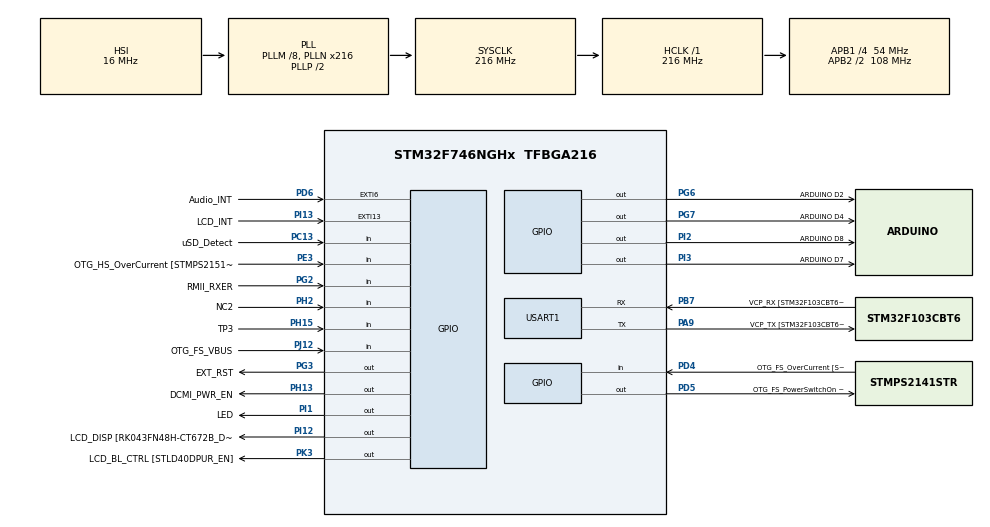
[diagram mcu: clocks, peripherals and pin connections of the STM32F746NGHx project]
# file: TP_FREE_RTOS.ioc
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FREERTOS.Tasks01=defaultTask,0,128,StartDefaultTask,Default,NULL,Dynamic,NULL,NULL
Mcu.Family=STM32F7
Mcu.Name=STM32F746NGHx
Mcu.Package=TFBGA216
NVIC.PriorityGroup=NVIC_PRIORITYGROUP_4
NVIC.TIM2_IRQn=true\:5\:0\:false\:false\:true\:true\:true\:true\:true
PA0/WKUP.GPIO_Label=ARDUINO A0
PA0/WKUP.GPIO_Mode=GPIO_MODE_ANALOG
PA0/WKUP.GPIO_PuPd=GPIO_NOPULL
PA0/WKUP.Signal=ADCx_IN0
PA1.GPIO_Label=RMII_REF_CLK [LAN8742A-CZ-TR_REFCLK0]
PA1.Signal=ETH_REF_CLK
PA10.GPIO_Label=OTG_FS_ID
PA10.Signal=USB_OTG_FS_ID
PA11.GPIO_Label=OTG_FS_N
PA11.Signal=USB_OTG_FS_DM
PA12.GPIO_Label=OTG_FS_P
PA12.Signal=USB_OTG_FS_DP
PA13.GPIO_Label=SWDIO
PA13.Mode=Serial_Wire
PA13.Signal=SYS_JTMS-SWDIO
PA14.GPIO_Label=SWCLK
PA14.Mode=Serial_Wire
PA14.Signal=SYS_JTCK-SWCLK
PA15.GPIO_Label=ARDUINO PWM/D9
PA15.GPIO_ModeDefaultPP=GPIO_MODE_AF_PP
PA15.GPIO_PuPd=GPIO_NOPULL
PA15.GPIO_Speed=GPIO_SPEED_FREQ_LOW
PA15.Signal=S_TIM2_CH1_ETR
PA2.GPIO_Label=RMII_MDIO [LAN8742A-CZ-TR_MDIO]
PA2.Signal=ETH_MDIO
PA3.GPIO_Label=ULPI_D0 [USB3320C-EZK_D0]
PA3.Signal=USB_OTG_HS_ULPI_D0
PA4.GPIO_Label=DCMI_HSYNC
PA4.Signal=DCMI_HSYNC
PA5.GPIO_Label=ULPI_CLK [USB3320C-EZK_CLKOUT]
PA5.Signal=USB_OTG_HS_ULPI_CK
PA6.Signal=DCMI_PIXCLK
PA7.GPIO_Label=RMII_CRS_DV [LAN8742A-CZ-TR_CRS_DV]
PA7.Signal=ETH_CRS_DV
PA8.GPIO_Label=ARDUINO PWM/D10
PA8.GPIO_ModeDefaultPP=GPIO_MODE_AF_PP
PA8.GPIO_PuPd=GPIO_NOPULL
PA8.GPIO_Speed=GPIO_SPEED_FREQ_LOW
PA8.Signal=S_TIM1_CH1
PA9.GPIO_Label=VCP_TX [STM32F103CBT6_PA3]
PA9.GPIO_Mode=GPIO_MODE_AF_PP
PA9.GPIO_PuPd=GPIO_NOPULL
PA9.GPIO_Speed=GPIO_SPEED_FREQ_LOW
PA9.Mode=Asynchronous
PA9.Signal=USART1_TX
PB0.GPIO_Label=ULPI_D1 [USB3320C-EZK_D1]
PB0.Signal=USB_OTG_HS_ULPI_D1
PB1.GPIO_Label=ULPI_D2 [USB3320C-EZK_D2]
PB1.Signal=USB_OTG_HS_ULPI_D2
PB10.GPIO_Label=ULPI_D3 [USB3320C-EZK_D3]
PB10.Signal=USB_OTG_HS_ULPI_D3
PB11.GPIO_Label=ULPI_D4 [USB3320C-EZK_D4]
PB11.Signal=USB_OTG_HS_ULPI_D4
PB12.GPIO_Label=ULPI_D5 [USB3320C-EZK_D5]
PB12.Signal=USB_OTG_HS_ULPI_D5
PB13.GPIO_Label=ULPI_D6 [USB3320C-EZK_D6]
PB13.Signal=USB_OTG_HS_ULPI_D6
PB14.GPIO_Label=ARDUINO MISO/D12
PB14.GPIO_Mode=GPIO_MODE_AF_PP
PB14.GPIO_PuPd=GPIO_NOPULL
PB14.GPIO_Speed=GPIO_SPEED_FREQ_LOW
PB14.Signal=SPI2_MISO
PB15.GPIO_Label=ARDUINO MOSI/PWM/D11
PB15.GPIO_Mode=GPIO_MODE_AF_PP
PB15.GPIO_PuPd=GPIO_NOPULL
PB15.GPIO_Speed=GPIO_SPEED_FREQ_LOW
PB15.Signal=SPI2_MOSI
PB2.Signal=QUADSPI_CLK
PB3.GPIO_Label=SWO
PB3.Signal=SYS_JTDO-SWO
PB4.GPIO_Label=ARDUINO PWM/D3
PB4.GPIO_ModeDefaultPP=GPIO_MODE_AF_PP
PB4.GPIO_PuPd=GPIO_NOPULL
PB4.GPIO_Speed=GPIO_SPEED_FREQ_LOW
PB4.Signal=S_TIM3_CH1
PB5.GPIO_Label=ULPI_D7 [USB3320C-EZK_D7]
PB5.Signal=USB_OTG_HS_ULPI_D7
PB6.GPIO_Label=QSPI_NCS [N25Q128A13EF840E_S]
PB6.Signal=QUADSPI_BK1_NCS
PB7.GPIO_Label=VCP_RX [STM32F103CBT6_PA2]
PB7.GPIO_Mode=GPIO_MODE_AF_PP
PB7.GPIO_PuPd=GPIO_NOPULL
PB7.GPIO_Speed=GPIO_SPEED_FREQ_LOW
PB7.Mode=Asynchronous
PB7.Signal=USART1_RX
PB8.GPIO_Label=ARDUINO SCL/D15
PB8.GPIO_Mode=GPIO_MODE_AF_OD
PB8.GPIO_PuPd=GPIO_NOPULL
PB8.GPIO_Speed=GPIO_SPEED_FREQ_LOW
PB8.Signal=I2C1_SCL
PB9.GPIO_Label=ARDUINO SDA/D14
PB9.GPIO_Mode=GPIO_MODE_AF_OD
PB9.GPIO_PuPd=GPIO_NOPULL
PB9.GPIO_Speed=GPIO_SPEED_FREQ_LOW
PB9.Signal=I2C1_SDA
PC0.GPIO_Label=ULPI_STP [USB3320C-EZK_STP]
PC0.Signal=USB_OTG_HS_ULPI_STP
PC1.GPIO_Label=RMII_MDC [LAN8742A-CZ-TR_MDC]
PC1.Signal=ETH_MDC
PC10.GPIO_Label=SDMMC_D2
PC10.Signal=SDMMC1_D2
PC11.GPIO_Label=SDMMC_D3
PC11.Signal=SDMMC1_D3
PC12.GPIO_Label=SDMMC_CK
PC12.Signal=SDMMC1_CK
PC13.GPIO_Label=uSD_Detect
PC13.Signal=GPIO_Input
PC14/OSC32_IN.GPIO_Label=RCC_OSC32_IN
PC14/OSC32_IN.Signal=RCC_OSC32_IN
PC15/OSC32_OUT.GPIO_Label=RCC_OSC32_OUT
PC15/OSC32_OUT.Signal=RCC_OSC32_OUT
PC2.GPIO_Label=ULPI_DIR [USB3320C-EZK_DIR]
PC2.Signal=USB_OTG_HS_ULPI_DIR
PC3.GPIO_Label=FMC_SDCKE0 [MT48LC4M32B2B5-6A_CKE]
PC3.Signal=FMC_SDCKE0
PC4.GPIO_Label=RMII_RXD0 [LAN8742A-CZ-TR_RXD0]
PC4.Signal=ETH_RXD0
PC5.GPIO_Label=RMII_RXD1 [LAN8742A-CZ-TR_RXD1]
PC5.Signal=ETH_RXD1
PC6.GPIO_Label=ARDUINO TX/D1
PC6.Signal=USART6_TX
PC7.GPIO_Label=ARDUINO RX/D0
PC7.Signal=USART6_RX
PC8.Signal=SDMMC1_D0
PC9.Signal=SDMMC1_D1
PD0.GPIO_Label=FMC_D2 [MT48LC4M32B2B5-6A_DQ2]
PD0.Signal=FMC_D2_DA2
PD1.GPIO_Label=FMC_D3 [MT48LC4M32B2B5-6A_DQ3]
PD1.Signal=FMC_D3_DA3
PD10.GPIO_Label=FMC_D15 [MT48LC4M32B2B5-6A_DQ15]
PD10.Signal=FMC_D15_DA15
PD11.GPIO_Label=QSPI_D0 [N25Q128A13EF840E_DQ0]
PD11.Signal=QUADSPI_BK1_IO0
PD12.GPIO_Label=QSPI_D1 [N25Q128A13EF840E_DQ1]
PD12.Signal=QUADSPI_BK1_IO1
PD13.GPIO_Label=QSPI_D3 [N25Q128A13EF840E_DQ3]
PD13.Signal=QUADSPI_BK1_IO3
PD14.GPIO_Label=FMC_D0 [MT48LC4M32B2B5-6A_DQ0]
PD14.Signal=FMC_D0_DA0
PD15.GPIO_Label=FMC_D1 [MT48LC4M32B2B5-6A_DQ1]
PD15.Signal=FMC_D1_DA1
PD2.GPIO_Label=SDMMC_D0
PD2.Signal=SDMMC1_CMD
PD3.GPIO_Label=DCMI_D5
PD3.Signal=DCMI_D5
PD4.GPIO_Label=OTG_FS_OverCurrent [STMPS2141STR_Fault]
PD4.Signal=GPIO_Input
PD5.GPIO_Label=OTG_FS_PowerSwitchOn [STMPS2141STR_EN]
PD5.PinState=GPIO_PIN_SET
PD5.Signal=GPIO_Output
PD6.GPIO_Label=Audio_INT
PD6.GPIO_ModeDefaultEXTI=GPIO_MODE_EVT_RISING
PD6.Signal=GPXTI6
PD7.GPIO_Label=SPDIF_RX0 [74LVC1G04SE_4]
PD7.Signal=SPDIFRX_IN0
PD8.GPIO_Label=FMC_D13 [MT48LC4M32B2B5-6A_DQ13]
PD8.Signal=FMC_D13_DA13
PD9.GPIO_Label=FMC_D14 [MT48LC4M32B2B5-6A_DQ14]
PD9.Signal=FMC_D14_DA14
PE0.GPIO_Label=FMC_NBL0 [MT48LC4M32B2B5-6A_DQM0]
PE0.Signal=FMC_NBL0
PE1.GPIO_Label=FMC_NBL1 [MT48LC4M32B2B5-6A_DQM1]
PE1.Signal=FMC_NBL1
PE10.GPIO_Label=FMC_D7 [MT48LC4M32B2B5-6A_DQ7]
PE10.Signal=FMC_D7_DA7
PE11.GPIO_Label=FMC_D8 [MT48LC4M32B2B5-6A_DQ8]
PE11.Signal=FMC_D8_DA8
PE12.GPIO_Label=FMC_D9 [MT48LC4M32B2B5-6A_DQ9]
PE12.Signal=FMC_D9_DA9
PE13.GPIO_Label=FMC_D10 [MT48LC4M32B2B5-6A_DQ10]
PE13.Signal=FMC_D10_DA10
PE14.GPIO_Label=FMC_D11 [MT48LC4M32B2B5-6A_DQ11]
PE14.Signal=FMC_D11_DA11
PE15.GPIO_Label=FMC_D12 [MT48LC4M32B2B5-6A_DQ12]
PE15.Signal=FMC_D12_DA12
PE2.GPIO_Label=QSPI_D2 [N25Q128A13EF840E_DQ2]
PE2.Signal=QUADSPI_BK1_IO2
PE3.GPIO_Label=OTG_HS_OverCurrent [STMPS2151STR_FAULT]
PE3.Signal=GPIO_Input
PE4.GPIO_Label=LCD_B0 [RK043FN48H-CT672B_B0]
PE4.Signal=LTDC_B0
PE5.GPIO_Label=DCMI_D6
PE5.Signal=DCMI_D6
PE6.GPIO_Label=DCMI_D7
PE6.Signal=DCMI_D7
PE7.GPIO_Label=FMC_D4 [MT48LC4M32B2B5-6A_DQ4]
PE7.Signal=FMC_D4_DA4
PE8.GPIO_Label=FMC_D5 [MT48LC4M32B2B5-6A_DQ5]
PE8.Signal=FMC_D5_DA5
PE9.GPIO_Label=FMC_D6 [MT48LC4M32B2B5-6A_DQ6]
PE9.Signal=FMC_D6_DA6
PF0.GPIO_Label=FMC_A0 [MT48LC4M32B2B5-6A_A0]
PF0.Signal=FMC_A0
PF1.GPIO_Label=FMC_A1 [MT48LC4M32B2B5-6A_A1]
PF1.Signal=FMC_A1
PF10.GPIO_Label=ARDUINO A1
PF10.GPIO_Mode=GPIO_MODE_ANALOG
PF10.GPIO_PuPd=GPIO_NOPULL
PF10.Signal=ADC3_IN8
PF11.GPIO_Label=FMC_SDNRAS [MT48LC4M32B2B5-6A_RAS]
PF11.Signal=FMC_SDNRAS
PF12.GPIO_Label=FMC_A6 [MT48LC4M32B2B5-6A_A6]
PF12.Signal=FMC_A6
PF13.GPIO_Label=FMC_A7 [MT48LC4M32B2B5-6A_A7]
PF13.Signal=FMC_A7
PF14.GPIO_Label=FMC_A8 [MT48LC4M32B2B5-6A_A8]
PF14.Signal=FMC_A8
PF15.GPIO_Label=FMC_A9 [MT48LC4M32B2B5-6A_A9]
PF15.Signal=FMC_A9
PF2.GPIO_Label=FMC_A2 [MT48LC4M32B2B5-6A_A2]
PF2.Signal=FMC_A2
PF3.GPIO_Label=FMC_A3 [MT48LC4M32B2B5-6A_A3]
PF3.Signal=FMC_A3
PF4.GPIO_Label=FMC_A4 [MT48LC4M32B2B5-6A_A4]
PF4.Signal=FMC_A4
PF5.GPIO_Label=FMC_A5 [MT48LC4M32B2B5-6A_A5]
PF5.Signal=FMC_A5
PF6.GPIO_Label=ARDUINO A5
PF6.GPIO_Mode=GPIO_MODE_ANALOG
PF6.GPIO_PuPd=GPIO_NOPULL
PF6.Signal=ADC3_IN4
PF7.GPIO_Label=ARDUINO A4
PF7.GPIO_Mode=GPIO_MODE_ANALOG
PF7.GPIO_PuPd=GPIO_NOPULL
PF7.Signal=ADC3_IN5
PF8.GPIO_Label=ARDUINO A3
PF8.GPIO_Mode=GPIO_MODE_ANALOG
PF8.GPIO_PuPd=GPIO_NOPULL
PF8.Signal=ADC3_IN6
PF9.GPIO_Label=ARDUINO A2
PF9.GPIO_Mode=GPIO_MODE_ANALOG
PF9.GPIO_PuPd=GPIO_NOPULL
PF9.Signal=ADC3_IN7
PG0.GPIO_Label=FMC_A10 [MT48LC4M32B2B5-6A_A10]
PG0.Signal=FMC_A10
PG1.GPIO_Label=FMC_A11 [MT48LC4M32B2B5-6A_A11]
PG1.Signal=FMC_A11
PG10.GPIO_Label=SAI2_SDB [WM8994ECS/R_ADCDAT1]
PG10.Signal=SAI2_SD_B
PG11.GPIO_Label=RMII_TX_EN [LAN8742A-CZ-TR_TXEN]
PG11.Signal=ETH_TX_EN
PG12.GPIO_Label=LCD_B4 [RK043FN48H-CT672B_B4]
PG12.Signal=LTDC_B4
PG13.GPIO_Label=RMII_TXD0 [LAN8742A-CZ-TR_TXD0]
PG13.Signal=ETH_TXD0
PG14.GPIO_Label=RMII_TXD1 [LAN8742A-CZ-TR_TXD1]
PG14.Signal=ETH_TXD1
PG15.GPIO_Label=FMC_SDNCAS [MT48LC4M32B2B5-6A_CAS]
PG15.Signal=FMC_SDNCAS
PG2.GPIO_Label=RMII_RXER
PG2.Signal=GPIO_Input
PG3.GPIO_Label=EXT_RST
PG3.Signal=GPIO_Output
PG4.GPIO_Label=FMC_BA0 [MT48LC4M32B2B5-6A_BA0]
PG4.Signal=FMC_A14_BA0
PG5.GPIO_Label=FMC_BA1 [MT48LC4M32B2B5-6A_BA1]
PG5.Signal=FMC_A15_BA1
PG6.GPIO_Label=ARDUINO D2
PG6.Signal=GPIO_Output
PG7.GPIO_Label=ARDUINO D4
PG7.Signal=GPIO_Output
PG8.GPIO_Label=FMC_SDCLK [MT48LC4M32B2B5-6A_CLK]
PG8.Signal=FMC_SDCLK
PG9.GPIO_Label=DCMI_VSYNC
PG9.Signal=DCMI_VSYNC
PH0/OSC_IN.GPIO_Label=OSC_25M [NZ2520SB-25.00M_OUT]
PH0/OSC_IN.Mode=HSE-External-Oscillator
PH0/OSC_IN.Signal=RCC_OSC_IN
PH1/OSC_OUT.Mode=HSE-External-Oscillator
PH1/OSC_OUT.Signal=RCC_OSC_OUT
PH10.GPIO_Label=DCMI_D1
PH10.Signal=DCMI_D1
PH11.GPIO_Label=DCMI_D2
PH11.Signal=DCMI_D2
PH12.GPIO_Label=DCMI_D3
PH12.Signal=DCMI_D3
PH13.GPIO_Label=DCMI_PWR_EN
PH13.Signal=GPIO_Output
PH14.GPIO_Label=DCMI_D4
PH14.Signal=DCMI_D4
PH15.GPIO_Label=TP3
PH15.Signal=GPIO_Input
PH2.GPIO_Label=NC2
PH2.Signal=GPIO_Input
PH3.GPIO_Label=FMC_SDNE0 [MT48LC4M32B2B5-6A_CS]
PH3.Signal=FMC_SDNE0
PH4.GPIO_Label=ULPI_NXT [USB3320C-EZK_NXT]
PH4.Signal=USB_OTG_HS_ULPI_NXT
PH5.GPIO_Label=FMC_SDNME [MT48LC4M32B2B5-6A_WE]
PH5.Signal=FMC_SDNWE
PH6.GPIO_Label=ARDUINO PWM/D6
PH6.Signal=S_TIM12_CH1
PH7.GPIO_Label=LCD_SCL [RK043FN48H-CT672B_SCL]
PH7.Signal=I2C3_SCL
PH8.GPIO_Label=LCD_SDA [RK043FN48H-CT672B_SDA]
PH8.Signal=I2C3_SDA
PH9.GPIO_Label=DCMI_D0
PH9.Signal=DCMI_D0
PI0.GPIO_Label=ARDUINO PWM/CS/D5
PI0.GPIO_ModeDefaultPP=GPIO_MODE_AF_PP
PI0.GPIO_PuPd=GPIO_NOPULL
PI0.GPIO_Speed=GPIO_SPEED_FREQ_LOW
PI0.Signal=S_TIM5_CH4
PI1.GPIO_Label=LED
PI1.Signal=GPIO_Output
PI10.GPIO_Label=LCD_HSYNC [RK043FN48H-CT672B_HSYNC]
PI10.Signal=LTDC_HSYNC
PI12.GPIO_Label=LCD_DISP [RK043FN48H-CT672B_DISP] 
PI12.Signal=GPIO_Output
PI13.GPIO_Label=LCD_INT
PI13.GPIO_ModeDefaultEXTI=GPIO_MODE_EVT_RISING
PI13.Signal=GPXTI13
PI14.GPIO_Label=LCD_CLK [RK043FN48H-CT672B_CLK]
PI14.Signal=LTDC_CLK
PI15.GPIO_Label=LCD_R0 [RK043FN48H-CT672B_R0]
PI15.Signal=LTDC_R0
PI2.GPIO_Label=ARDUINO D8
PI2.Signal=GPIO_Output
PI3.GPIO_Label=ARDUINO D7
PI3.Signal=GPIO_Output
PI4.GPIO_Label=SAI2_MCLKA [WM8994ECS/R_MCLK1]
PI4.Signal=SAI2_MCLK_A
PI5.GPIO_Label=SAI2_SCKA [WM8994ECS/R_BCLK1]
PI5.Signal=SAI2_SCK_A
PI6.GPIO_Label=SAI2_SDA [WM8994ECS/R_DACDAT1]
PI6.Signal=SAI2_SD_A
PI7.GPIO_Label=SAI2_FSA [WM8994ECS/R_LRCLK1]
PI7.Signal=SAI2_FS_A
PI8.GPIO_Label=NC1 [TP2]
PI8.Signal=RTC_TS
PI9.GPIO_Label=LCD_VSYNC [RK043FN48H-CT672B_VSYNC]
PI9.Signal=LTDC_VSYNC
PJ0.GPIO_Label=LCD_R1 [RK043FN48H-CT672B_R1]
PJ0.Signal=LTDC_R1
PJ1.GPIO_Label=LCD_R2 [RK043FN48H-CT672B_R2]
PJ1.Signal=LTDC_R2
PJ10.GPIO_Label=LCD_G3 [RK043FN48H-CT672B_G3]
PJ10.Signal=LTDC_G3
PJ11.GPIO_Label=LCD_G4 [RK043FN48H-CT672B_G4]
PJ11.Signal=LTDC_G4
PJ12.GPIO_Label=OTG_FS_VBUS
PJ12.Signal=GPIO_Input
PJ13.GPIO_Label=LCD_B1 [RK043FN48H-CT672B_B1]
PJ13.Signal=LTDC_B1
PJ14.GPIO_Label=LCD_B2 [RK043FN48H-CT672B_B2]
PJ14.Signal=LTDC_B2
PJ15.GPIO_Label=LCD_B3 [RK043FN48H-CT672B_B3]
PJ15.Signal=LTDC_B3
PJ2.GPIO_Label=LCD_R3 [RK043FN48H-CT672B_R3]
PJ2.Signal=LTDC_R3
PJ3.GPIO_Label=LCD_R4 [RK043FN48H-CT672B_R4]
PJ3.Signal=LTDC_R4
PJ4.GPIO_Label=LCD_R5 [RK043FN48H-CT672B_R5]
PJ4.Signal=LTDC_R5
PJ5.GPIO_Label=LCD_R6 [RK043FN48H-CT672B_R6]
PJ5.Signal=LTDC_R6
PJ6.GPIO_Label=LCD_R7 [RK043FN48H-CT672B_R7]
PJ6.Signal=LTDC_R7
PJ7.GPIO_Label=LCD_G0 [RK043FN48H-CT672B_G0]
PJ7.Signal=LTDC_G0
PJ8.GPIO_Label=LCD_G1 [RK043FN48H-CT672B_G1]
PJ8.Signal=LTDC_G1
PJ9.GPIO_Label=LCD_G2 [RK043FN48H-CT672B_G2]
PJ9.Signal=LTDC_G2
PK0.GPIO_Label=LCD_G5 [RK043FN48H-CT672B_G5]
PK0.Signal=LTDC_G5
PK1.GPIO_Label=LCD_G6 [RK043FN48H-CT672B_G6]
PK1.Signal=LTDC_G6
PK2.GPIO_Label=LCD_G7 [RK043FN48H-CT672B_G7]
PK2.Signal=LTDC_G7
PK3.GPIO_Label=LCD_BL_CTRL [STLD40DPUR_EN]
PK3.Signal=GPIO_Output
PK4.GPIO_Label=LCD_B5 [RK043FN48H-CT672B_B5]
PK4.Signal=LTDC_B5
PK5.GPIO_Label=LCD_B6 [RK043FN48H-CT672B_B6]
PK5.Signal=LTDC_B6
PK6.GPIO_Label=LCD_B7 [RK043FN48H-CT672B_B7]
PK6.Signal=LTDC_B7
PK7.GPIO_Label=LCD_DE [RK043FN48H-CT672B_DE]
PK7.Signal=LTDC_DE
ProjectManager.HeapSize=0x200
ProjectManager.StackSize=0x400
ProjectManager.TargetToolchain=STM32CubeIDE
RCC.AHBFreq_Value=216000000
RCC.APB1CLKDivider=RCC_HCLK_DIV4
RCC.APB1Freq_Value=54000000
RCC.APB1TimFreq_Value=108000000
RCC.APB2CLKDivider=RCC_HCLK_DIV2
RCC.APB2Freq_Value=108000000
RCC.APB2TimFreq_Value=216000000
RCC.CortexFreq_Value=216000000
RCC.HCLKFreq_Value=216000000
RCC.HSE_VALUE=25000000
RCC.HSI_VALUE=16000000
RCC.LSE_VALUE=32768
RCC.PLLM=8
RCC.PLLN=216
RCC.PLLSourceVirtual=RCC_PLLSOURCE_HSI
RCC.SYSCLKFreq_VALUE=216000000
RCC.SYSCLKSource=RCC_SYSCLKSOURCE_PLLCLK
RCC.USBFreq_Value=216000000
RCC.VCOOutputFreq_Value=432000000
SH.ADCx_IN0.0=ADC3_IN0
SH.FMC_A0.0=FMC_A0
SH.FMC_A1.0=FMC_A1
SH.FMC_A10.0=FMC_A10
SH.FMC_A11.0=FMC_A11
SH.FMC_A14_BA0.0=FMC_BA0
SH.FMC_A15_BA1.0=FMC_BA1
SH.FMC_A2.0=FMC_A2
SH.FMC_A3.0=FMC_A3
SH.FMC_A4.0=FMC_A4
SH.FMC_A5.0=FMC_A5
SH.FMC_A6.0=FMC_A6
SH.FMC_A7.0=FMC_A7
SH.FMC_A8.0=FMC_A8
SH.FMC_A9.0=FMC_A9
SH.FMC_D0_DA0.0=FMC_D0
SH.FMC_D10_DA10.0=FMC_D10
SH.FMC_D11_DA11.0=FMC_D11
SH.FMC_D12_DA12.0=FMC_D12
SH.FMC_D13_DA13.0=FMC_D13
SH.FMC_D14_DA14.0=FMC_D14
SH.FMC_D15_DA15.0=FMC_D15
SH.FMC_D1_DA1.0=FMC_D1
SH.FMC_D2_DA2.0=FMC_D2
SH.FMC_D3_DA3.0=FMC_D3
SH.FMC_D4_DA4.0=FMC_D4
SH.FMC_D5_DA5.0=FMC_D5
SH.FMC_D6_DA6.0=FMC_D6
SH.FMC_D7_DA7.0=FMC_D7
SH.FMC_D8_DA8.0=FMC_D8
SH.FMC_D9_DA9.0=FMC_D9
SH.FMC_NBL0.0=FMC_NBL0
SH.FMC_NBL1.0=FMC_NBL1
SH.FMC_SDCLK.0=FMC_SDCLK
SH.FMC_SDNCAS.0=FMC_SDNCAS
SH.FMC_SDNRAS.0=FMC_SDNRAS
SH.FMC_SDNWE.0=FMC_SDNWE
SH.S_TIM12_CH1.0=TIM12_CH1
SH.S_TIM1_CH1.0=TIM1_CH1
SH.S_TIM2_CH1_ETR.0=TIM2_CH1
SH.S_TIM3_CH1.0=TIM3_CH1
SH.S_TIM5_CH4.0=TIM5_CH4
USART1.VirtualMode-Asynchronous=VM_ASYNC
VP_FREERTOS_VS_CMSIS_V1.Mode=CMSIS_V1
VP_TIM2_VS_ClockSourceINT.Mode=Internal
board=STM32F746G-DISCO

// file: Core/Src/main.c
/* USER CODE BEGIN Header */
/**
 ******************************************************************************
 * @file           : main.c
 * @brief          : Main program body
 ******************************************************************************
 * @attention
 *
 * Copyright (c) 2022 STMicroelectronics.
 * All rights reserved.
 *
 * This software is licensed under terms that can be found in the LICENSE file
 * in the root directory of this software component.
 * If no LICENSE file comes with this software, it is provided AS-IS.
 *
 ******************************************************************************
 */
/* USER CODE END Header */
#include "main.h"
#include "cmsis_os.h"
#include "tim.h"
#include "usart.h"
#include "gpio.h"

/* USER CODE BEGIN Includes */
#include <stdio.h>

/* USER CODE END Includes */

/* USER CODE BEGIN PTD */
#define STACK_DEPTH 1024
#define LONG_MAX 100
#define QUEUE_LENGTH 10
#define QUEUE_SIZE sizeof(uint32_t)

/* USER CODE END PTD */

/* USER CODE BEGIN PV */
int param1 = 1;
TickType_t xDelay=100/ portTICK_PERIOD_MS;
TickType_t xMAXDelay=1000/ portTICK_PERIOD_MS;

GPIO_PinState PinState=0;

SemaphoreHandle_t sem1;
TaskHandle_t t1,t3,tLED;
TaskHandle_t htaskTakeNotify,htaskGiveNotify;

TaskHandle_t h_taskTakeQueue,h_taskGiveQueue;

QueueHandle_t q_task1;
uint32_t timer;

/* USER CODE END PV */

void SystemClock_Config(void);
void MX_FREERTOS_Init(void);

/* USER CODE BEGIN 0 */
int __io_putchar(int ch)
{
	HAL_UART_Transmit(&huart1, (uint8_t*)&ch, 1, HAL_MAX_DELAY);

	return ch;
}

void task_code_Allumage_LED(void * param)
{

	for (;;)
	{
		HAL_GPIO_TogglePin(LED_GPIO_Port, LED_Pin);
		timer++;
		if(PinState==1){
			printf("LED eteinte\r\n");
			PinState=0;
		}
		else{
			printf("LED allumee\r\n");
			PinState=1;
		}
		vTaskDelay(xDelay);
	}
}

//méthodes avec utilisation de sémaphore
/*
void taskGive(void * param)
{
	for(;;){
		printf("task donne le sem1 \r\n");
		xSemaphoreGive(sem1);
		printf("task a donne le sem1 \r\n");
		vTaskDelay(xDelay);
		xDelay+=100;
	}

}

void taskTake(void * param)
{
	for(;;){
		printf("task prend le sem1 \r\n");
		param=xSemaphoreTake(sem1,1000);
		if(param==pdFALSE){
			printf("Temps max depasse pour prendre le semaphore \r\n");
			Error_Handler();
		}
		printf("task a pris le sem1 \r\n");
	}
}
*/

//méthode avec utilisation de notifications
/*
void taskGiveNotify(void * param)
{
	for(;;){
		printf("task donne \r\n");
		xTaskNotifyGive(htaskTakeNotify);
		printf("task a donne  \r\n");
		vTaskDelay(xDelay);
		xDelay+=100;
	}

}

void taskTakeNotify(void * param)
{
	for(;;){
		printf("task prend \r\n");
		param=ulTaskNotifyTake(pdTRUE,portMAX_DELAY);
		if(param==pdFALSE){
			printf("Temps max depasse pour prendre le semaphore \r\n");
			Error_Handler();
		}
		printf("task a pris  \r\n");
	}
}
*/

//methodes avec utilisation de queue

void taskGiveQueue(void * param)
{
	for(;;){
		xQueueSend(q_task1,(void *)&timer,xMAXDelay);
		printf("valeur du timer dans la queue \r\n");
	}

}

void taskTakeQueue(void * param)
{
	uint32_t timer_receive_value;
	for(;;){
		xQueueReceive(q_task1, (void *)&timer_receive_value, xMAXDelay);
		printf("le timer vaut : %d\r\n",timer_receive_value);
	}
}

/* USER CODE END 0 */

int main(void)
{

  /* MCU Configuration--------------------------------------------------------*/

  /* Reset of all peripherals, Initializes the Flash interface and the Systick. */
  HAL_Init();

  /* Configure the system clock */
  SystemClock_Config();

  /* Initialize all configured peripherals */
  MX_GPIO_Init();
  MX_USART1_UART_Init();
  MX_TIM2_Init();
  /* USER CODE BEGIN 2 */
	printf("\r\n===== RTOS TP entrainement =====\r\n");

	//création semaphore

	sem1 =xSemaphoreCreateBinary();
	if(sem1==NULL){
		printf("Error sem1 \r\n");
		Error_Handler();
	}

	BaseType_t ret;
	ret = xTaskCreate(task_code_Allumage_LED, "Task1", STACK_DEPTH, NULL, 4, &tLED);
	configASSERT(ret == pdPASS); //teste l'égalité qu'on a mit c'est a dt return ) Task, sinon ça bloque le retour

	//ret = xTaskCreate(taskGive, "Task2", STACK_DEPTH, NULL, 3, &t1);
	//ret = xTaskCreate(taskTake, "Task3", STACK_DEPTH, NULL, 2, &t3);
	//ret = xTaskCreate(taskTakeNotify, "taskTakeNotify", STACK_DEPTH, NULL, 3, &htaskTakeNotify);
//	ret = xTaskCreate(taskGiveNotify, "taskGiveNotify", STACK_DEPTH, NULL, 2, &htaskGiveNotify);

	q_task1=xQueueCreate(QUEUE_LENGTH,QUEUE_SIZE);
	ret = xTaskCreate(taskTakeQueue, "taskTakeQueue", STACK_DEPTH, NULL, 2, &h_taskTakeQueue);
	ret = xTaskCreate(taskGiveQueue, "taskGiveQueue", STACK_DEPTH, NULL, 3, &h_taskGiveQueue);

	vTaskStartScheduler();

  /* USER CODE END 2 */

  /* Call init function for freertos objects (in freertos.c) */
  MX_FREERTOS_Init();

  /* Start scheduler */
  osKernelStart();

  /* We should never get here as control is now taken by the scheduler */
  /* Infinite loop */
  /* USER CODE BEGIN WHILE */
	while (1)
	{
		HAL_Delay(1000);

    /* USER CODE END WHILE */

	}
}

void SystemClock_Config(void)
{
  RCC_OscInitTypeDef RCC_OscInitStruct = {0};
  RCC_ClkInitTypeDef RCC_ClkInitStruct = {0};

  /** Configure the main internal regulator output voltage
  */
  __HAL_RCC_PWR_CLK_ENABLE();
  __HAL_PWR_VOLTAGESCALING_CONFIG(PWR_REGULATOR_VOLTAGE_SCALE1);

  /** Initializes the RCC Oscillators according to the specified parameters
  * in the RCC_OscInitTypeDef structure.
  */
  RCC_OscInitStruct.OscillatorType = RCC_OSCILLATORTYPE_HSI;
  RCC_OscInitStruct.HSIState = RCC_HSI_ON;
  RCC_OscInitStruct.HSICalibrationValue = RCC_HSICALIBRATION_DEFAULT;
  RCC_OscInitStruct.PLL.PLLState = RCC_PLL_ON;
  RCC_OscInitStruct.PLL.PLLSource = RCC_PLLSOURCE_HSI;
  RCC_OscInitStruct.PLL.PLLM = 8;
  RCC_OscInitStruct.PLL.PLLN = 216;
  RCC_OscInitStruct.PLL.PLLP = RCC_PLLP_DIV2;
  RCC_OscInitStruct.PLL.PLLQ = 2;
  if (HAL_RCC_OscConfig(&RCC_OscInitStruct) != HAL_OK)
  {
    Error_Handler();
  }

  /** Activate the Over-Drive mode
  */
  if (HAL_PWREx_EnableOverDrive() != HAL_OK)
  {
    Error_Handler();
  }

  /** Initializes the CPU, AHB and APB buses clocks
  */
  RCC_ClkInitStruct.ClockType = RCC_CLOCKTYPE_HCLK|RCC_CLOCKTYPE_SYSCLK
                              |RCC_CLOCKTYPE_PCLK1|RCC_CLOCKTYPE_PCLK2;
  RCC_ClkInitStruct.SYSCLKSource = RCC_SYSCLKSOURCE_PLLCLK;
  RCC_ClkInitStruct.AHBCLKDivider = RCC_SYSCLK_DIV1;
  RCC_ClkInitStruct.APB1CLKDivider = RCC_HCLK_DIV4;
  RCC_ClkInitStruct.APB2CLKDivider = RCC_HCLK_DIV2;

  if (HAL_RCC_ClockConfig(&RCC_ClkInitStruct, FLASH_LATENCY_7) != HAL_OK)
  {
    Error_Handler();
  }
}

void Error_Handler(void)
{
	__disable_irq();
	while (1)
	{
	}
}
